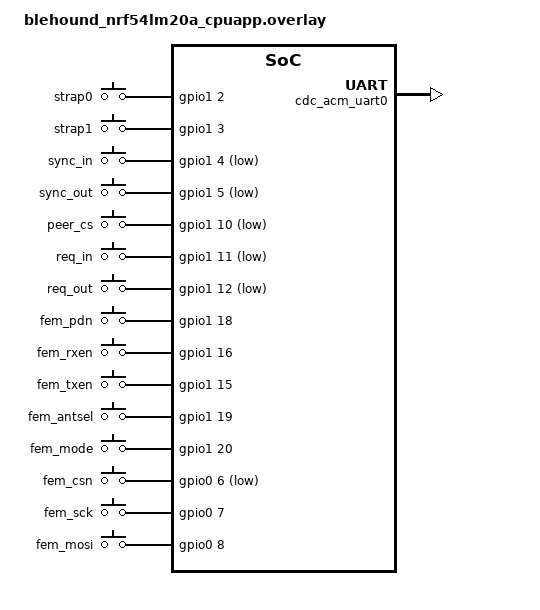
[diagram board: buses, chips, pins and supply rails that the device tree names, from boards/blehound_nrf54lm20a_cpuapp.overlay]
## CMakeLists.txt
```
# SPDX-License-Identifier: Apache-2.0
#
# BLEhound Sniffer firmware top-level CMake
# Note: this is a Zephyr / nRF Connect SDK "freestanding" application.
#   - The build depends on an external NCS (provided via west); this repo does not contain the SDK itself.
#   - For local builds see tools/build.sh; for open-source reproduction see west.yml + README in the repo root.

cmake_minimum_required(VERSION 3.20.0)

find_package(Zephyr REQUIRED HINTS $ENV{ZEPHYR_BASE})
project(nrf_ble_sniffer LANGUAGES C)

target_sources(app PRIVATE
    src/main.c
    src/cobs.c
    src/host_iface.c
    src/ble_csa.c
    src/ble_ctrl_pdu.c
    src/conn_follower.c
    src/board_role.c
    src/peer_msg.c
    src/peer_txq.c
    src/sync_line.c
    src/peer_link.c
    src/tri_coord.c
    src/fem_ctrl.c
    src/ble_aes128.c
)

# The Radio HAL implementation is selected per chip -- this is the whole point of the HAL abstraction:
# the upper layers (CSA / connection following / host protocol) stay completely unchanged, and switching
# chips only swaps this one file. To add a new chip, just add another branch here.
if(CONFIG_SOC_SERIES_NRF54L)
    target_sources(app PRIVATE src/radio_nrf54l.c)
else()
    target_sources(app PRIVATE src/radio_nrf52.c)   # nRF52 series (default)
endif()

target_include_directories(app PRIVATE
    src
    ${CMAKE_CURRENT_BINARY_DIR}/blehound_generated
)

# Firmware version: V<MAJOR>.<MINOR>.<PATCH>.<BUILD>, BUILD = git commit count of this repo,
# incremented with every commit. The generator runs on every build so a rebuild after a commit
# picks it up; outside a git repo (e.g. an exported source archive) it falls back to 0.
set(BLEHOUND_VERSION_BASE "V1.0.0")
add_custom_target(blehound_version
    BYPRODUCTS ${CMAKE_CURRENT_BINARY_DIR}/blehound_generated/blehound_version.h
    COMMAND ${CMAKE_COMMAND}
        -DBASE=${BLEHOUND_VERSION_BASE}
        -DSRC_DIR=${CMAKE_CURRENT_SOURCE_DIR}
        -DOUT=${CMAKE_CURRENT_BINARY_DIR}/blehound_generated/blehound_version.h
        -P ${CMAKE_CURRENT_SOURCE_DIR}/cmake/gen_version.cmake
    COMMENT "Generating firmware version (V1.0.0.<git commit count>)"
    VERBATIM
)
add_dependencies(app blehound_version)

# nRF54L USB uses the new UDC/usbd stack, reusing Zephyr's official USB init helper
# (sample_usbd_init.c). common.cmake only adds that source file when CONFIG_USB_DEVICE_STACK_NEXT
# is set, so it is a no-op for nRF52 (legacy stack) builds.
include(${ZEPHYR_BASE}/samples/subsys/usb/common/common.cmake)
```

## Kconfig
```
# Application-level Kconfig.
#
# Pulls in the SAMPLE_USBD_* options required by Zephyr's official USB init
# helper (sample_usbd_init.c); they `depends on USB_DEVICE_STACK_NEXT`, which
# prj.conf enables for the nRF54L UDC stack.
source "$(ZEPHYR_BASE)/samples/subsys/usb/common/Kconfig.sample_usbd"

# ---- Three-node coordination strategy (design §3.4: who follows after catching CONNECT_IND) ----
choice
	prompt "Three-node follow strategy"
	default TRI_STRATEGY_SELF
	help
	  Each of the three boards guards one advertising channel; how the follow
	  work is divided after catching CONNECT_IND.

config TRI_STRATEGY_SELF
	bool "A Self-follow + inter-board handoff (the board that caught it follows and pushes the parameters to the other two over the inter-board SPI, recommended)"
	help
	  The board that caught the anchor follows directly, zero coordination
	  latency, and hands the connection parameters to the other two boards over
	  the inter-board link so all three follow (arrives within 1 ms, no host
	  needed); the host USB relay becomes the fallback.

config TRI_STRATEGY_HANDOFF
	bool "B Handoff (the catching board hands the connection to its downstream neighbor)"
	help
	  The catching board passes the connection parameters over the inter-chip
	  SPI to a less busy neighbor to follow, for load balancing.
	  Takeover following (inject) is board bring-up work.

config TRI_STRATEGY_DEDUP
	bool "C Redundancy (multiple boards follow together, host dedups)"
	help
	  After catching, broadcast the handoff so multiple boards follow the same
	  connection to improve weak-signal capture rate; the host dedups by (AA,CRC,PDU).

endchoice

config SNIFFER_DEFAULT_TARGET_MAC
	string "Default target MAC at boot (empty = no filtering)"
	default ""
	help
	  In the form aa:bb:cc:dd:ee:ff (display order, most significant byte first).
	  Lets you follow just this one target even without a host
	  (single-target mode + advertising filter, same as filling in the target MAC
	  in Wireshark). Overridden by HOST_CMD_SET_TARGET once a host connects.
	  Mainly for host-less single-board testing / standalone operation.

source "Kconfig.zephyr"
```

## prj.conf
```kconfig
# BLEhound Sniffer — application config (board-level settings live in boards/blehound_v*/)
# Goal: validate the full "build -> flash -> run" chain + three basics: LED, RTT logging, USB CDC ACM.
# Later stages (radio / connection following) will add config on top of this.

# --- Logging: over SEGGER RTT (via J-Link, the main dev/debug channel) ---
CONFIG_LOG=y
# 2026-09-20 switched to deferred: in immediate mode sniffer_thread writes every log
# line to RTT synchronously, so the moment J-Link attaches it slows the thread down and
# capture_q overflows, dropping frames (357 queue drops observed on real hardware).
# deferred lets a dedicated log thread dequeue, so the ISR/worker threads only copy the
# message and are no longer affected by RTT read speed.
CONFIG_LOG_MODE_DEFERRED=y
CONFIG_LOG_BUFFER_SIZE=8192
CONFIG_USE_SEGGER_RTT=y
CONFIG_LOG_BACKEND_RTT=y
CONFIG_LOG_BACKEND_UART=n
CONFIG_CONSOLE=y
CONFIG_RTT_CONSOLE=y
CONFIG_UART_CONSOLE=n

# --- GPIO: on-board LED heartbeat ---
CONFIG_GPIO=y

# --- USB CDC ACM: host (Wireshark extcap) data channel ---
# nRF54LM20 USB is a DesignWare (usbhs) controller and **the legacy usb_device_stack has no driver for
# it**; only the new UDC / usb_device_stack_next stack has the udc_dwc2 + nRF54L usbhs glue. So the old
# stack is disabled, the new one enabled, and Zephyr's official sample_usbd helper initializes the device.
CONFIG_USB_DEVICE_STACK=n
CONFIG_USB_DEVICE_STACK_NEXT=y
CONFIG_USBD_CDC_ACM_CLASS=y
# Thread stacks: the new stack's defaults overflow on this chip's enumeration path (pinned down one by
# one from the Current thread in the fault dump):
#  - the usbd message-processing thread defaults to 1KB -- handling descriptors + class callbacks during
#    host enumeration/CDC configuration blows it (Current thread: usbd, STKOF). **This is the key fix.**
#  - the udc_dwc2 driver's internal thread defaults to 512B, which is a bit small.
#  - host_iface_init creates the device/descriptors on the main thread, so leave headroom there too.
CONFIG_USBD_THREAD_STACK_SIZE=2048
CONFIG_UDC_DWC2_STACK_SIZE=2048
CONFIG_MAIN_STACK_SIZE=2048
# Device identity used by sample_usbd_init.c (Zephyr's official USB init helper).
CONFIG_SAMPLE_USBD_MANUFACTURER="BLEhound"
CONFIG_SAMPLE_USBD_PRODUCT="BLEhound Sniffer"
CONFIG_SAMPLE_USBD_VID=0x1915
CONFIG_SAMPLE_USBD_PID=0x520F
# Serial layer: CDC ACM shows up as a UART device.
CONFIG_SERIAL=y
CONFIG_UART_INTERRUPT_DRIVEN=y
CONFIG_UART_LINE_CTRL=y

# --- Inter-chip link: the downstream master port (peer_link) uses the Zephyr SPI master API (design 4.2, P3) ---
CONFIG_SPI=y

# --- Radio: the sniffer takes over RADIO/TIMER/PPI directly, without enabling the Zephyr BLE controller ---
# Requires an external 32MHz crystal (the internal RC is not accurate enough); use clock_control to request HFXO.
CONFIG_CLOCK_CONTROL=y

# --- Runtime diagnostics ---
CONFIG_THREAD_NAME=y
CONFIG_PRINTK=y

# The RTT up buffer defaults to only 1KB, which fills up as soon as capture logs start (when full it
# drops new data, not overwrites old); enlarge it to 4KB to reduce the "I can't see any logs" confusion.
CONFIG_SEGGER_RTT_BUFFER_SIZE_UP=4096
```

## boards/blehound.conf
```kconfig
# Differential config for the real board blehound (3x nRF54LM20A QFN52 + nRF21540) on top of the blehound board target.
# Goes with boards/blehound.overlay (real-board ball map). Usage (at the west workspace top level):
#   west build -b blehound/nrf54lm20a/cpuapp -d BLEhound/build_dongle -s BLEhound/firmware -- \
#     -DBOARD_ROOT=. -DEXTRA_CONF_FILE=boards/blehound.conf \
#     -DEXTRA_DTC_OVERLAY_FILE=boards/blehound.overlay
#
# The real board **has no 32.768 kHz crystal** (XL1/XL2 = P1.00/P1.01 are used as inter-chip SPI GPIOs), so LFCLK must use the internal RC.
# Keeping the board-definition default K32SRC_XTAL (inherited from the DK) would make it wait forever for the LFXO to start at boot: GRTC won't run, the kernel tick stops, and not a single log line appears.
# The ±500ppm accuracy only affects kernel timing; radio scheduling uses the HF TIMER (32 MHz crystal) and is unaffected.
CONFIG_CLOCK_CONTROL_NRF_K32SRC_RC=y
CONFIG_CLOCK_CONTROL_NRF_K32SRC_500PPM=y

# GPIOTE handler pool: SYNC (gpio0/gpiote30) + inter-chip REQ (gpio1/gpiote20) belong to two different gpiote instances,
# each needing one event handler. The default of 1 may not be enough, so enlarge it to ensure both interrupt sources can register.
CONFIG_NRFX_GPIOTE_NUM_OF_EVT_HANDLERS=4
```

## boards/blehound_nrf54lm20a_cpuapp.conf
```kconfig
# USB config for the nRF54LM20A DK.
#
# The nRF54LM20 USB is a DesignWare (usbhs) controller, and **the legacy
# usb_device_stack has no driver for it**; only the new UDC / usb_device_stack_next
# stack has the udc_dwc2 + nRF54L usbhs glue.
# So here we explicitly disable the old stack, enable the new one, and use Zephyr's
# official sample_usbd helper to initialize the device.
CONFIG_USB_DEVICE_STACK=n
CONFIG_USB_DEVICE_STACK_NEXT=y
CONFIG_USBD_CDC_ACM_CLASS=y

# Thread stacks: the new stack's defaults overflow on this chip's enumeration path
# (pinned down one by one from the Current thread in the fault dump):
#  - the usbd message-processing thread defaults to 1KB -- handling descriptors + class
#    callbacks during host enumeration/CDC configuration blows it (Current thread: usbd,
#    STKOF). **This is the key fix.**
#  - the udc_dwc2 driver's internal thread defaults to 512B, which is a bit small.
#  - host_iface_init creates the device/descriptors on the main thread, so leave some headroom on the main stack too.
CONFIG_USBD_THREAD_STACK_SIZE=2048
CONFIG_UDC_DWC2_STACK_SIZE=2048
CONFIG_MAIN_STACK_SIZE=2048

# Device identity used by sample_usbd_init.c (Zephyr's official USB init helper), same as nRF52.
CONFIG_SAMPLE_USBD_MANUFACTURER="BLEhound"
CONFIG_SAMPLE_USBD_PRODUCT="BLEhound Sniffer"
CONFIG_SAMPLE_USBD_VID=0x1915
CONFIG_SAMPLE_USBD_PID=0x520F

# The inter-chip link (peer_link) downstream master port uses the Zephyr SPI master API (design §4.2, P3).
# The overlay's tri-peer-spi points to a SPIM; on a single board / without that alias, peer_link uses a disabled stub and does not need this.
CONFIG_SPI=y
```

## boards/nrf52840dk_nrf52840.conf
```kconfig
# nRF52840 DK: USB uses the legacy usb_device_stack (nRF USBD controller).
CONFIG_USB_DEVICE_STACK=y
CONFIG_USB_DEVICE_PRODUCT="BLEhound Sniffer"
CONFIG_USB_DEVICE_MANUFACTURER="BLEhound"
CONFIG_USB_DEVICE_VID=0x1915
CONFIG_USB_DEVICE_PID=0x520F
```

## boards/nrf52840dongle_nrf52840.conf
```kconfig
# nRF52840 Dongle: same as the DK, USB uses the legacy usb_device_stack.
CONFIG_USB_DEVICE_STACK=y
CONFIG_USB_DEVICE_PRODUCT="BLEhound Sniffer"
CONFIG_USB_DEVICE_MANUFACTURER="BLEhound"
CONFIG_USB_DEVICE_VID=0x1915
CONFIG_USB_DEVICE_PID=0x520F
```

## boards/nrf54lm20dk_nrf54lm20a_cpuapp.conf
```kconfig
# USB config for the nRF54LM20A DK.
#
# The nRF54LM20 USB is a DesignWare (usbhs) controller, and **the legacy
# usb_device_stack has no driver for it**; only the new UDC / usb_device_stack_next
# stack has the udc_dwc2 + nRF54L usbhs glue.
# So here we explicitly disable the old stack, enable the new one, and use Zephyr's
# official sample_usbd helper to initialize the device.
CONFIG_USB_DEVICE_STACK=n
CONFIG_USB_DEVICE_STACK_NEXT=y
CONFIG_USBD_CDC_ACM_CLASS=y

# Thread stacks: the new stack's defaults overflow on this chip's enumeration path
# (pinned down one by one from the Current thread in the fault dump):
#  - the usbd message-processing thread defaults to 1KB -- handling descriptors + class
#    callbacks during host enumeration/CDC configuration blows it (Current thread: usbd,
#    STKOF). **This is the key fix.**
#  - the udc_dwc2 driver's internal thread defaults to 512B, which is a bit small.
#  - host_iface_init creates the device/descriptors on the main thread, so leave some headroom on the main stack too.
CONFIG_USBD_THREAD_STACK_SIZE=2048
CONFIG_UDC_DWC2_STACK_SIZE=2048
CONFIG_MAIN_STACK_SIZE=2048

# Device identity used by sample_usbd_init.c (Zephyr's official USB init helper), same as nRF52.
CONFIG_SAMPLE_USBD_MANUFACTURER="BLEhound"
CONFIG_SAMPLE_USBD_PRODUCT="nRF BLE Sniffer"
CONFIG_SAMPLE_USBD_VID=0x1915
CONFIG_SAMPLE_USBD_PID=0x520F

# The inter-chip link (peer_link) downstream master port uses the Zephyr SPI master API (design §4.2, P3).
# The overlay's tri-peer-spi points to a SPIM; on a single board / without that alias, peer_link uses a disabled stub and does not need this.
CONFIG_SPI=y
```

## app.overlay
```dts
/*
 * Generic devicetree overlay (board-independent part).
 * Attaches a CDC ACM UART instance under the USB controller (zephyr_udc0),
 * for the firmware to use as a serial device -- this is the channel the host will
 * later use to read capture data.
 */

&zephyr_udc0 {
	cdc_acm_uart0: cdc_acm_uart0 {
		compatible = "zephyr,cdc-acm-uart";
	};
};
```

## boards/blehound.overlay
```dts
/*
 * Real-board blehound pin mapping -- overlaid on blehound_nrf54lm20a_cpuapp.overlay,
 * replacing the DK placeholder pins with the full board's actual balls. All three chips A/B/C share the same numbers (verified pin by pin against the blehound netlist).
 * Goes with blehound.conf (LFRC); for usage see that file's header. The FEM pins written in the DK overlay are already the real-board balls, so they are left untouched here.
 *
 * Finalized 2026-09-19: strap and SYNC all land on the 4 trace pins of the debug header (TD0..TD3), and **the first-batch board (flywire) and the revised board
 * (schematic and direct PCB connection) use the same pin table**:
 *   pin10 = TD3 = P0.04  SYNC input (gpiote30 edge capture)
 *   pin8  = TD2 = P0.03  SYNC output (open-drain drive-low, no GPIOTE attached)
 *   pin6  = TD1 = P1.09  strap1
 *   pin4  = TD0 = P1.08  strap0
 * First-batch board: pin8<->pin10 jumper + three-chip pin10 bus + strap tied to pin3 (GND); revised board: the same connections are made by PCB routing.
 */

#include <zephyr/dt-bindings/gpio/gpio.h>
#include <zephyr/dt-bindings/pinctrl/nrf-pinctrl.h>

/*
 * strap (finalized 2026-09-19): first-batch board fly-wired to the debug header's trace pins (see hardware/v1/README.md, "Flying-wire rework").
 *   strap0 = TD0 = P1.08 (header pin4); strap1 = TD1 = P1.09 (header pin6). Both pins are right next to GND (pin3), so the jumpers are short.
 *   Input + pull-up: tie to this header's GND (pin3) reads 0, tie to 3V3 (pin1) reads 1 (floating also reads 1 via the internal pull-up, but both the first-batch flywire and the revised board PCB
 *   explicitly tie to 3V3, not relying on floating). code=(strap1<<1)|strap0, matching the board_role.c table. Three-chip wiring:
 *     J3/U1 (A, code 00 -> guard 37): pin4->GND and pin6->GND
 *     J6/U2 (B, code 10 -> guard 38): pin4->GND, pin6->3V3
 *     J9/U3 (C, code 01 -> guard 39): pin6->GND, pin4->3V3
 * WARNING when not fly-wired, both pins read 1 (=11 reserved combination), board_role falls back to id=0 guarding 37, so all three guard 37 (degenerates to single-chip, still captures).
 * The old hard-soldered P1.03/P1.04 wiring was inconsistent with the board_role encoding (A/C collide), is deprecated, and is no longer referenced.
 */
&strap0 {
	gpios = <&gpio1 8 GPIO_ACTIVE_HIGH>;
};
&strap1 {
	gpios = <&gpio1 9 GPIO_ACTIVE_HIGH>;
};

/* ACT LED: P1.05 -> R -> green LED -> GND, lit on high. The DK's led0 is on P1.22, which the QFN52 does not break out. */
&led0 {
	gpios = <&gpio1 5 GPIO_ACTIVE_HIGH>;
};

/*
 * SYNC (finalized 2026-09-19: two-pin scheme, the two pins are adjacent for easy jumpering):
 *   input  sync_in  = P0.04 = TD3 = header pin10 (gpio0/gpiote30, edge-interrupt capture for a shared time base)
 *   output sync_out = P0.03 = TD2 = header pin8  (open-drain drive-low, released normally; this pin **must not** have any GPIOTE attached)
 *   flywire: on each of J3/J6/J9 one short jumper pin8<->pin10 (two adjacent pins); across the three chips pin10 is interconnected into a bus (J3.10-J6.10-J9.10).
 *   No external pull-up; sync_in enables the internal pull-up (three in parallel ~4k; the ~1Hz low-frequency SYNC edges are fine with that).
 *
 * Why it can't be a single pin: the nRF54L GPIOTE differs from the nRF52 -- per the datasheet's GPIOTE chapter, as soon as a channel's IN event
 *   is configured on pin n, that pin's output value is updated only by GPIOTE and any write from the GPIO side is ignored; MODE=Disabled does not
 *   truly disconnect it either. Observed on real hardware 2026-09-19: a pin that had had an IN interrupt attached (tried both P0.04 and P1.08) stayed
 *   permanently high on its pad after push-pull drive-low, while an identical pin that had never had an interrupt attached pulled low normally. So the
 *   capture pin and the drive pin must be separate, joined into one line by an external jumper.
 */
&sync_in {
	gpios = <&gpio0 4 (GPIO_PULL_UP | GPIO_ACTIVE_LOW)>;
};
&sync_out {
	gpios = <&gpio0 3 GPIO_ACTIVE_LOW>;
};

/*
 * Inter-chip link (per chip: downstream master port SPIM + upstream slave port SPIS + two REQ lines):
 *   downstream master port spi00: SCK=P2.02 MOSI=P2.03 MISO=P2.04, CS=P2.05 (GPIO, attached to spi_config at runtime by peer_link).
 *   REQ_IN (the downstream slave calling me) = P1.29; REQ_OUT (me calling the upstream master) = P1.02.
 *   The upstream slave port SPIS (P1.30/P1.31/P1.00/P1.01) is board bring-up work; peer_link does not load SPIS yet, so it is not claimed here.
 * The DK's spi00 SCK is on P2.01 -- on the real board that is the SYNC line, and not changing it would hold SYNC permanently low, so pinctrl must remap it.
 */
&peer_cs {
	gpios = <&gpio2 5 GPIO_ACTIVE_LOW>;
};
&req_in {
	gpios = <&gpio1 29 (GPIO_PULL_UP | GPIO_ACTIVE_LOW)>;
};
&req_out {
	gpios = <&gpio1 2 GPIO_ACTIVE_LOW>;
};

&spi00_default {
	group1 {
		psels = <NRF_PSEL(SPIM_SCK, 2, 2)>,
			<NRF_PSEL(SPIM_MOSI, 2, 3)>,
			<NRF_PSEL(SPIM_MISO, 2, 4)>;
	};
};
&spi00_sleep {
	group1 {
		psels = <NRF_PSEL(SPIM_SCK, 2, 2)>,
			<NRF_PSEL(SPIM_MOSI, 2, 3)>,
			<NRF_PSEL(SPIM_MISO, 2, 4)>;
		low-power-enable;
	};
};
```

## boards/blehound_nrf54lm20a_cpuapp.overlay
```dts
/*
 * Firmware pin definitions for the in-house full board blehound (3x nRF54LM20A) -- overlaid on the blehound board target
 * (firmware/boards/blehound/, a copy of the nRF54LM20 DK board definition).
 *
 * NOTE: this overlay uses the DK's GPIO numbers as **placeholders** so the same firmware also
 *   compiles/links and runs on an nRF54LM20 DK. The real-board ball map (finalized) lives in boards/blehound.overlay,
 *   which is layered on top of this file and overrides these pins with the actual board balls.
 */

#include <zephyr/dt-bindings/gpio/gpio.h>

/*
 * CDC ACM data channel. WARNING note: when a board-level overlay exists, Zephyr **no longer auto-applies app.overlay**,
 * so the CDC ACM node from app.overlay must be redefined here, otherwise host_iface.c's
 * DEVICE_DT_GET_ONE(zephyr_cdc_acm_uart) fails at compile time (no okay CDC node found).
 */
&zephyr_udc0 {
	cdc_acm_uart0: cdc_acm_uart0 {
		compatible = "zephyr,cdc-acm-uart";
	};
};

/ {
	/*
	 * strap: 2 GPIOs encoding board_id and the advertising channel guarded (design §4.5).
	 * On the full board each chip has one set hard-soldered (to GND / pull-up); for how it is read see firmware/src/board_role.c.
	 * WARNING board bring-up: placeholders use the DK's gpio1 2/3 (Arduino header pins).
	 */
	tri_straps {
		compatible = "gpio-keys";
		strap0: strap_0 {
			gpios = <&gpio1 2 GPIO_ACTIVE_HIGH>;
			zephyr,code = <1>;
		};
		strap1: strap_1 {
			gpios = <&gpio1 3 GPIO_ACTIVE_HIGH>;
			zephyr,code = <2>;
		};
	};

	/*
	 * SYNC sync line (design §5.2): on the full board it is **one** open-drain line shared by all three chips + a 4.7k pull-up.
	 * The DK has no such net, so use two GPIOs as placeholders (merged into one line on the board; for DK regression, jumper the two pins together).
	 * WARNING board bring-up: placeholders use the DK's gpio1 4 (in) / gpio1 5 (out).
	 */
	tri_sync {
		compatible = "gpio-keys";
		sync_in: sync_in {
			gpios = <&gpio1 4 (GPIO_PULL_UP | GPIO_ACTIVE_LOW)>;
			zephyr,code = <3>;
		};
		sync_out: sync_out {
			gpios = <&gpio1 5 GPIO_ACTIVE_LOW>;
			zephyr,code = <4>;
		};
	};

	/*
	 * The inter-chip link's CS and two REQ lines (design §4.2). The inter-chip SPI bus itself uses the tri-peer-spi alias
	 * pointing to a SPIM (placeholder to spi00 on the DK so it compiles/links; a dedicated SPIM instance on the full board).
	 * WARNING board bring-up: CS/REQ placeholders use the DK's gpio1 10/11/12.
	 */
	tri_peer {
		compatible = "gpio-keys";
		peer_cs: peer_cs {
			gpios = <&gpio1 10 GPIO_ACTIVE_LOW>;
			zephyr,code = <5>;
		};
		req_in: req_in {
			gpios = <&gpio1 11 (GPIO_PULL_UP | GPIO_ACTIVE_LOW)>;
			zephyr,code = <6>;
		};
		req_out: req_out {
			gpios = <&gpio1 12 GPIO_ACTIVE_LOW>;
			zephyr,code = <7>;
		};
	};

	/*
	 * nRF21540 FEM control port (one per chip, pure GPIO, no SPI; for the rules see src/fem_ctrl.h).
	 * This group is the full board's **actual balls** (all three chips A/B/C share the same numbers, verified against the blehound netlist), not placeholders:
	 *   PDN=P1.18 RX_EN=P1.16 TX_EN=P1.15 ANT_SEL=P1.19 MODE=P1.20 CSN=P0.06 SCK=P0.07 MOSI=P0.08
	 *   MISO=P0.09 **deliberately omitted** -- on some early samples this pin is tied to VDD inside the package, so the firmware never touches it.
	 *   WARNING the above are the 0908 first-batch board balls. The revised board (V2) has moved the FEM SPI to the P1 port (CSN=P1.19 SCK=P1.24 MOSI=P1.21
	 *   MISO=P1.20, MODE/ANTSEL moved to P0.08/P0.06), overridden by boards/blehound_v2.overlay.
	 * DK regression: the DK has no FEM, so these pins are empty header/VCOM lines and driving them is harmless. On the DK, P0.07 is the uart30 RX
	 * direction (driven by the IMCU on the other side), so fem_ctrl only configures SCK/MOSI as input pull-down and does not drive them; P1.16 is the DK's
	 * uart20 TX, and uart20 is disabled at the end of this file to free it.
	 */
	tri_fem {
		compatible = "gpio-keys";
		fem_pdn: fem_pdn {
			gpios = <&gpio1 18 GPIO_ACTIVE_HIGH>;
			zephyr,code = <8>;
		};
		fem_rxen: fem_rxen {
			gpios = <&gpio1 16 GPIO_ACTIVE_HIGH>;
			zephyr,code = <9>;
		};
		fem_txen: fem_txen {
			gpios = <&gpio1 15 GPIO_ACTIVE_HIGH>;
			zephyr,code = <10>;
		};
		fem_antsel: fem_antsel {
			gpios = <&gpio1 19 GPIO_ACTIVE_HIGH>;
			zephyr,code = <11>;
		};
		fem_mode: fem_mode {
			gpios = <&gpio1 20 GPIO_ACTIVE_HIGH>;
			zephyr,code = <12>;
		};
		/* Chip select is active low: fem_ctrl configures OUTPUT_INACTIVE = physical high = never selected. */
		fem_csn: fem_csn {
			gpios = <&gpio0 6 GPIO_ACTIVE_LOW>;
			zephyr,code = <13>;
		};
		fem_sck: fem_sck {
			gpios = <&gpio0 7 GPIO_ACTIVE_HIGH>;
			zephyr,code = <14>;
		};
		fem_mosi: fem_mosi {
			gpios = <&gpio0 8 GPIO_ACTIVE_HIGH>;
			zephyr,code = <15>;
		};
	};

	aliases {
		tri-strap0 = &strap0;
		tri-strap1 = &strap1;
		tri-sync-in = &sync_in;
		tri-sync-out = &sync_out;
		tri-peer-cs = &peer_cs;
		tri-req-in = &req_in;
		tri-req-out = &req_out;
		/* Inter-chip SPI master-port bus. WARNING board bring-up: the DK placeholder uses spi00 (its flash sub-device is already disabled),
		 * on the full board this is re-pointed to a dedicated SPIM instance. */
		tri-peer-spi = &spi00;
		fem-pdn = &fem_pdn;
		fem-rxen = &fem_rxen;
		fem-txen = &fem_txen;
		fem-antsel = &fem_antsel;
		fem-mode = &fem_mode;
		fem-csn = &fem_csn;
		fem-sck = &fem_sck;
		fem-mosi = &fem_mosi;
	};
};

/*
 * uart20 (P1.16/P1.17) is the DK's VCOM console. This firmware's console uses RTT (prj.conf CONFIG_UART_CONSOLE=n),
 * so disable it to free P1.16 for the FEM's RX_EN, otherwise the uart driver's pinctrl and the GPIO config override each other.
 */
&uart20 {
	status = "disabled";
};
```

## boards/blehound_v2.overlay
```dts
/*
 * Overlay layer for the revised board (V2) on top of the first-batch board overlay -- it only changes the inter-chip SPIM00 pins.
 * Usage: pass it to west **together with** blehound.overlay (that one first, this file after to override):
 *   -DEXTRA_DTC_OVERLAY_FILE="boards/blehound.overlay;boards/blehound_v2.overlay"
 *   or tools/build.sh V2=1.
 *
 * The datasheet fixes SPIM00's pins as P2.01=SCK (the only clock pin on P2), P2.02=SDO, P2.04=SDI, P2.05=CSN;
 * the 0908/first-batch board putting SCK on P2.02 and MOSI on P2.03 does not comply. The revised board PCB is wired to the dedicated pins.
 *
 * WARNING the first-batch flywire board **cannot** use this overlay layer: its P2.01 is the old SYNC net shared by all three chips (with the R19 pull-up), so three chips driving SCK at once would fight each other.
 *
 * FEM (nRF21540) control pins follow revised plan B (2026-09-20): the four SPI pins move to the P1 port (datasheet same-port rule + NCS requiring the PERI-domain
 * spi2x with cs on P1): CSN=P1.19, SCK=P1.24, MOSI=P1.21, MISO=P1.20 (the firmware's pure-GPIO mode never touches MISO);
 * MODE/ANTSEL move to P0.08/P0.06; P0.07 is freed. TXEN/RXEN/PDN unchanged.
 * The remaining pins (strap/SYNC/REQ/CS, etc.) are identical on both boards and reuse the first-batch board overlay.
 */

#include <zephyr/dt-bindings/pinctrl/nrf-pinctrl.h>

&spi00_default {
	group1 {
		psels = <NRF_PSEL(SPIM_SCK, 2, 1)>,
			<NRF_PSEL(SPIM_MOSI, 2, 2)>,
			<NRF_PSEL(SPIM_MISO, 2, 4)>;
	};
};
&spi00_sleep {
	group1 {
		psels = <NRF_PSEL(SPIM_SCK, 2, 1)>,
			<NRF_PSEL(SPIM_MOSI, 2, 2)>,
			<NRF_PSEL(SPIM_MISO, 2, 4)>;
		low-power-enable;
	};
};

/* FEM control pins (plan B). In the DK overlay fem_sck/fem_mosi are "parked" input pull-down pins, and on the revised board they are likewise only parked. */
&fem_csn {
	gpios = <&gpio1 19 GPIO_ACTIVE_LOW>;
};
&fem_sck {
	gpios = <&gpio1 24 GPIO_ACTIVE_HIGH>;
};
&fem_mosi {
	gpios = <&gpio1 21 GPIO_ACTIVE_HIGH>;
};
&fem_antsel {
	gpios = <&gpio0 6 GPIO_ACTIVE_HIGH>;
};
&fem_mode {
	gpios = <&gpio0 8 GPIO_ACTIVE_HIGH>;
};
```

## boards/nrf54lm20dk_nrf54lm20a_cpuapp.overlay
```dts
/*
 * Firmware pin definitions for the in-house full board blehound (3x nRF54LM20A) -- overlaid on the DK target.
 *
 * NOTE: this overlay targets the nRF54LM20 DK and uses DK GPIOs as **placeholders** so the firmware
 *   compiles/links on the DK. The real-board ball map (finalized) lives in boards/blehound.overlay,
 *   which is layered on top of this file and overrides these pins with the actual board balls.
 */

#include <zephyr/dt-bindings/gpio/gpio.h>

/*
 * CDC ACM data channel. WARNING note: when a board-level overlay exists, Zephyr **no longer auto-applies app.overlay**,
 * so the CDC ACM node from app.overlay must be redefined here, otherwise host_iface.c's
 * DEVICE_DT_GET_ONE(zephyr_cdc_acm_uart) fails at compile time (no okay CDC node found).
 */
&zephyr_udc0 {
	cdc_acm_uart0: cdc_acm_uart0 {
		compatible = "zephyr,cdc-acm-uart";
	};
};

/ {
	/*
	 * strap: 2 GPIOs encoding board_id and the advertising channel guarded (design §4.5).
	 * On the full board each chip has one set hard-soldered (to GND / pull-up); for how it is read see firmware/src/board_role.c.
	 * WARNING board bring-up: placeholders use the DK's gpio1 2/3 (Arduino header pins).
	 */
	tri_straps {
		compatible = "gpio-keys";
		strap0: strap_0 {
			gpios = <&gpio1 2 GPIO_ACTIVE_HIGH>;
			zephyr,code = <1>;
		};
		strap1: strap_1 {
			gpios = <&gpio1 3 GPIO_ACTIVE_HIGH>;
			zephyr,code = <2>;
		};
	};

	/*
	 * SYNC sync line (design §5.2): on the full board it is **one** open-drain line shared by all three chips + a 4.7k pull-up.
	 * The DK has no such net, so use two GPIOs as placeholders (merged into one line on the board; for DK regression, jumper the two pins together).
	 * WARNING board bring-up: placeholders use the DK's gpio1 4 (in) / gpio1 5 (out).
	 */
	tri_sync {
		compatible = "gpio-keys";
		sync_in: sync_in {
			gpios = <&gpio1 4 (GPIO_PULL_UP | GPIO_ACTIVE_LOW)>;
			zephyr,code = <3>;
		};
		sync_out: sync_out {
			gpios = <&gpio1 5 GPIO_ACTIVE_LOW>;
			zephyr,code = <4>;
		};
	};

	/*
	 * The inter-chip link's CS and two REQ lines (design §4.2). The inter-chip SPI bus itself uses the tri-peer-spi alias
	 * pointing to a SPIM (placeholder to spi00 on the DK so it compiles/links; a dedicated SPIM instance on the full board).
	 * WARNING board bring-up: CS/REQ placeholders use the DK's gpio1 10/11/12.
	 */
	tri_peer {
		compatible = "gpio-keys";
		peer_cs: peer_cs {
			gpios = <&gpio1 10 GPIO_ACTIVE_LOW>;
			zephyr,code = <5>;
		};
		req_in: req_in {
			gpios = <&gpio1 11 (GPIO_PULL_UP | GPIO_ACTIVE_LOW)>;
			zephyr,code = <6>;
		};
		req_out: req_out {
			gpios = <&gpio1 12 GPIO_ACTIVE_LOW>;
			zephyr,code = <7>;
		};
	};

	/*
	 * nRF21540 FEM control port (one per chip, pure GPIO, no SPI; for the rules see src/fem_ctrl.h).
	 * This group is the full board's **actual balls** (all three chips A/B/C share the same numbers, verified against the blehound netlist), not placeholders:
	 *   PDN=P1.18 RX_EN=P1.16 TX_EN=P1.15 ANT_SEL=P1.19 MODE=P1.20 CSN=P0.06 SCK=P0.07 MOSI=P0.08
	 *   MISO=P0.09 **deliberately omitted** -- on some early samples this pin is tied to VDD inside the package, so the firmware never touches it.
	 *   WARNING the above are the 0908 first-batch board balls. The revised board (V2) has moved the FEM SPI to the P1 port (CSN=P1.19 SCK=P1.24 MOSI=P1.21
	 *   MISO=P1.20, MODE/ANTSEL moved to P0.08/P0.06), overridden by boards/blehound_v2.overlay.
	 * DK regression: the DK has no FEM, so these pins are empty header/VCOM lines and driving them is harmless. On the DK, P0.07 is the uart30 RX
	 * direction (driven by the IMCU on the other side), so fem_ctrl only configures SCK/MOSI as input pull-down and does not drive them; P1.16 is the DK's
	 * uart20 TX, and uart20 is disabled at the end of this file to free it.
	 */
	tri_fem {
		compatible = "gpio-keys";
		fem_pdn: fem_pdn {
			gpios = <&gpio1 18 GPIO_ACTIVE_HIGH>;
			zephyr,code = <8>;
		};
		fem_rxen: fem_rxen {
			gpios = <&gpio1 16 GPIO_ACTIVE_HIGH>;
			zephyr,code = <9>;
		};
		fem_txen: fem_txen {
			gpios = <&gpio1 15 GPIO_ACTIVE_HIGH>;
			zephyr,code = <10>;
		};
		fem_antsel: fem_antsel {
			gpios = <&gpio1 19 GPIO_ACTIVE_HIGH>;
			zephyr,code = <11>;
		};
		fem_mode: fem_mode {
			gpios = <&gpio1 20 GPIO_ACTIVE_HIGH>;
			zephyr,code = <12>;
		};
		/* Chip select is active low: fem_ctrl configures OUTPUT_INACTIVE = physical high = never selected. */
		fem_csn: fem_csn {
			gpios = <&gpio0 6 GPIO_ACTIVE_LOW>;
			zephyr,code = <13>;
		};
		fem_sck: fem_sck {
			gpios = <&gpio0 7 GPIO_ACTIVE_HIGH>;
			zephyr,code = <14>;
		};
		fem_mosi: fem_mosi {
			gpios = <&gpio0 8 GPIO_ACTIVE_HIGH>;
			zephyr,code = <15>;
		};
	};

	aliases {
		tri-strap0 = &strap0;
		tri-strap1 = &strap1;
		tri-sync-in = &sync_in;
		tri-sync-out = &sync_out;
		tri-peer-cs = &peer_cs;
		tri-req-in = &req_in;
		tri-req-out = &req_out;
		/* Inter-chip SPI master-port bus. WARNING board bring-up: the DK placeholder uses spi00 (its flash sub-device is already disabled),
		 * on the full board this is re-pointed to a dedicated SPIM instance. */
		tri-peer-spi = &spi00;
		fem-pdn = &fem_pdn;
		fem-rxen = &fem_rxen;
		fem-txen = &fem_txen;
		fem-antsel = &fem_antsel;
		fem-mode = &fem_mode;
		fem-csn = &fem_csn;
		fem-sck = &fem_sck;
		fem-mosi = &fem_mosi;
	};
};

/*
 * uart20 (P1.16/P1.17) is the DK's VCOM console. This firmware's console uses RTT (prj.conf CONFIG_UART_CONSOLE=n),
 * so disable it to free P1.16 for the FEM's RX_EN, otherwise the uart driver's pinctrl and the GPIO config override each other.
 */
&uart20 {
	status = "disabled";
};
```

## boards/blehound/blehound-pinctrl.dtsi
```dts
/*
 * BLEhound board definition (3x nRF54LM20A + nRF21540), derived from the Zephyr
 * nRF54LM20 DK board (boards/nordic/nrf54lm20dk, Copyright (c) 2025 Nordic Semiconductor ASA).
 *
 * SPDX-License-Identifier: Apache-2.0
 */

&pinctrl {
	/omit-if-no-ref/ uart20_default: uart20_default {
		group1 {
			psels = <NRF_PSEL(UART_TX, 1, 16)>,
				<NRF_PSEL(UART_RTS, 1, 18)>;
		};

		group2 {
			psels = <NRF_PSEL(UART_RX, 1, 17)>,
				<NRF_PSEL(UART_CTS, 1, 19)>;
			bias-pull-up;
		};
	};

	/omit-if-no-ref/ uart20_sleep: uart20_sleep {
		group1 {
			psels = <NRF_PSEL(UART_RX, 1, 17)>,
				<NRF_PSEL(UART_RTS, 1, 18)>,
				<NRF_PSEL(UART_CTS, 1, 19)>;
			low-power-enable;
		};

		group2 {
			psels = <NRF_PSEL(UART_TX, 1, 16)>;
			low-power-enable;
			bias-pull-up;
		};
	};

	/omit-if-no-ref/ pwm20_default: pwm20_default {
		group1 {
			psels = <NRF_PSEL(PWM_OUT0, 1, 25)>;
		};
	};

	/omit-if-no-ref/ pwm20_sleep: pwm20_sleep {
		group1 {
			psels = <NRF_PSEL(PWM_OUT0, 1, 25)>;
			low-power-enable;
		};
	};

	/omit-if-no-ref/ uart30_default: uart30_default {
		group1 {
			psels = <NRF_PSEL(UART_TX, 0, 6)>,
				<NRF_PSEL(UART_RTS, 0, 8)>;
		};

		group2 {
			psels = <NRF_PSEL(UART_RX, 0, 7)>,
				<NRF_PSEL(UART_CTS, 0, 9)>;
			bias-pull-up;
		};
	};

	/omit-if-no-ref/ uart30_sleep: uart30_sleep {
		group1 {
			psels = <NRF_PSEL(UART_TX, 0, 6)>,
				<NRF_PSEL(UART_RX, 0, 7)>,
				<NRF_PSEL(UART_RTS, 0, 8)>,
				<NRF_PSEL(UART_CTS, 0, 9)>;
			low-power-enable;
		};
	};

	/omit-if-no-ref/ spi00_default: spi00_default {
		group1 {
			psels = <NRF_PSEL(SPIM_SCK, 2, 1)>,
				<NRF_PSEL(SPIM_MOSI, 2, 2)>,
				<NRF_PSEL(SPIM_MISO, 2, 4)>;
		};
	};

	/omit-if-no-ref/ spi00_sleep: spi00_sleep {
		group1 {
			psels = <NRF_PSEL(SPIM_SCK, 2, 1)>,
				<NRF_PSEL(SPIM_MOSI, 2, 2)>,
				<NRF_PSEL(SPIM_MISO, 2, 4)>;
			low-power-enable;
		};
	};

	/omit-if-no-ref/ grtc_default: grtc_default {
		group1 {
			psels = <NRF_PSEL(GRTC_CLKOUT_FAST, 1, 7)>,
				<NRF_PSEL(GRTC_CLKOUT_32K, 0, 4)>;
		};
	};

	/omit-if-no-ref/ grtc_sleep: grtc_sleep {
		group1 {
			psels = <NRF_PSEL(GRTC_CLKOUT_FAST, 1, 7)>,
				<NRF_PSEL(GRTC_CLKOUT_32K, 0, 4)>;
			low-power-enable;
		};
	};

	spi22_default: spi22_default {
		group1 {
			psels = <NRF_PSEL(SPIM_SCK, 3, 3)>,
				<NRF_PSEL(SPIM_MISO, 3, 1)>,
				<NRF_PSEL(SPIM_MOSI, 3, 0)>;
			bias-pull-down;
		};
	};

	spi22_sleep: spi22_sleep {
		group1 {
			psels = <NRF_PSEL(SPIM_SCK, 3, 3)>,
				<NRF_PSEL(SPIM_MISO, 3, 1)>,
				<NRF_PSEL(SPIM_MOSI, 3, 0)>;
			bias-pull-down;
			low-power-enable;
		};
	};

	pwm21_default: pwm21_default {
		group1 {
			psels = <NRF_PSEL(PWM_OUT0, 3, 4)>;
		};
	};

	pwm21_sleep: pwm21_sleep {
		group1 {
			psels = <NRF_PSEL(PWM_OUT0, 3, 4)>;
			low-power-enable;
		};
	};
};
```

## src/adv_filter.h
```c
/*
 * Advertising PDU target filter -- pure function, no hardware dependency, called from
 * main's packet-RX interrupt and unit-tested on the host.
 *
 * Single-target mode: once a target MAC is set, of the PDUs received on the advertising
 * AA only those "related to the target" are forwarded to the host --
 *   - Sent by the target itself: ADV_IND / ADV_DIRECT_IND / ADV_NONCONN_IND / ADV_SCAN_IND / SCAN_RSP
 *     (AdvA at payload offset 0);
 *   - Sent to the target by others: SCAN_REQ / CONNECT_IND (ScanA/InitA first, AdvA at offset 6) --
 *     kept so you can see who is scanning it and who is connecting to it;
 *   - Extended advertising (ADV_EXT_IND / AUX_* share type 0x07, AUX_CONNECT_RSP 0x08): counts only
 *     when the extended header carries AdvA and it matches. The primary-channel ADV_EXT_IND often
 *     carries no AdvA; this version treats it as "unrelated".
 * CRC-bad packets are matched against AdvA by the same rules: kept if they match, which gives the
 * "include packets with CRC errors" option meaning.
 *
 * Reference: BT Core Spec Vol 6, Part B, §2.3 (advertising PDU format), §2.3.4 (extended header).
 */

#ifndef ADV_FILTER_H_
#define ADV_FILTER_H_

#include <stdbool.h>
#include <stdint.h>
#include <string.h>

#define ADV_FILTER_PDU_ADV_IND         0x00
#define ADV_FILTER_PDU_ADV_DIRECT_IND  0x01
#define ADV_FILTER_PDU_ADV_NONCONN_IND 0x02
#define ADV_FILTER_PDU_SCAN_REQ        0x03
#define ADV_FILTER_PDU_SCAN_RSP        0x04
#define ADV_FILTER_PDU_CONNECT_IND     0x05
#define ADV_FILTER_PDU_ADV_SCAN_IND    0x06
#define ADV_FILTER_PDU_ADV_EXT_IND     0x07
#define ADV_FILTER_PDU_AUX_CONNECT_RSP 0x08

#define ADV_FILTER_EXT_FLAG_ADVA       0x01

/**
 * Extract the AdvA ("who this packet is about") from an LL PDU (including the 2-byte header) received on the advertising AA.
 * @param pdu     Complete LL PDU: header(1) + length(1) + payload
 * @param pdu_len Total PDU length
 * @return pointer to the 6-byte AdvA inside the PDU (over-the-air little-endian); NULL if the type is unknown, carries no AdvA, or is too short
 */
static inline const uint8_t *adv_pdu_adva(const uint8_t *pdu, uint16_t pdu_len)
{
	if (pdu == NULL || pdu_len < 2) {
		return NULL;
	}

	const uint8_t type = pdu[0] & 0x0F;

	switch (type) {
	case ADV_FILTER_PDU_ADV_IND:
	case ADV_FILTER_PDU_ADV_DIRECT_IND:
	case ADV_FILTER_PDU_ADV_NONCONN_IND:
	case ADV_FILTER_PDU_SCAN_RSP:
	case ADV_FILTER_PDU_ADV_SCAN_IND:
		return (pdu_len >= 2 + 6) ? &pdu[2] : NULL;
	case ADV_FILTER_PDU_SCAN_REQ:
	case ADV_FILTER_PDU_CONNECT_IND:
		return (pdu_len >= 2 + 12) ? &pdu[2 + 6] : NULL;
	case ADV_FILTER_PDU_ADV_EXT_IND:
	case ADV_FILTER_PDU_AUX_CONNECT_RSP:
		/* pdu[2] = ExtHdrLen (low 6 bits) | AdvMode (high 2 bits); pdu[3] = extended header Flags;
		 * AdvA is the first optional field after Flags (bit0). */
		if (pdu_len >= 2 + 1 + 1 + 6) {
			const uint8_t ext_len = pdu[2] & 0x3F;
			const uint8_t flags = pdu[3];

			if (ext_len >= 1 + 6 && (flags & ADV_FILTER_EXT_FLAG_ADVA) != 0) {
				return &pdu[4];
			}
		}
		return NULL;
	default:
		return NULL;
	}
}

/**
 * Whether an LL PDU (including the 2-byte header) received on the advertising AA is related to the target AdvA.
 * @param target  6-byte BLE address, little-endian (matching the over-the-air order)
 */
static inline bool adv_pdu_matches_target(const uint8_t *pdu, uint16_t pdu_len,
					  const uint8_t target[6])
{
	const uint8_t *adva = adv_pdu_adva(pdu, pdu_len);

	return adva != NULL && memcmp(adva, target, 6) == 0;
}

/**
 * Parse "AA:BB:CC:DD:EE:FF" (also accepts '-' separators, any case) into a 6-byte
 * **over-the-air little-endian** address (display order is most-significant-first, the
 * over-the-air order is reversed, matching HOST_CMD_SET_TARGET / adv_pdu_matches_target).
 * @return true if the format is valid
 */
static inline bool adv_filter_parse_mac(const char *text, uint8_t out[6])
{
	if (text == NULL) {
		return false;
	}
	uint8_t disp[6];
	int n = 0;

	while (*text != '\0' && n < 6) {
		uint8_t v = 0;

		for (int k = 0; k < 2; k++) {
			const char c = *text++;
			uint8_t d;

			if (c >= '0' && c <= '9') {
				d = (uint8_t)(c - '0');
			} else if (c >= 'a' && c <= 'f') {
				d = (uint8_t)(c - 'a' + 10);
			} else if (c >= 'A' && c <= 'F') {
				d = (uint8_t)(c - 'A' + 10);
			} else {
				return false;
			}
			v = (uint8_t)((v << 4) | d);
		}
		disp[n++] = v;
		if (*text == ':' || *text == '-') {
			text++;
		}
	}
	if (n != 6 || *text != '\0') {
		return false;
	}
	for (int i = 0; i < 6; i++) {
		out[i] = disp[5 - i];
	}
	return true;
}

#endif /* ADV_FILTER_H_ */
```

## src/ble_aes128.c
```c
/* SPDX-License-Identifier: Apache-2.0 */
/*
 * AES-128 single-block encryption, a direct transcription of the four FIPS-197 steps
 * (SubBytes/ShiftRows/MixColumns/AddRoundKey). Round keys are derived on the fly instead of
 * expanding the whole key schedule -- small code, small stack, suited to firmware.
 */
#include "ble_aes128.h"

#include <string.h>

static const uint8_t sbox[256] = {
	0x63, 0x7c, 0x77, 0x7b, 0xf2, 0x6b, 0x6f, 0xc5, 0x30, 0x01, 0x67, 0x2b, 0xfe, 0xd7, 0xab, 0x76,
	0xca, 0x82, 0xc9, 0x7d, 0xfa, 0x59, 0x47, 0xf0, 0xad, 0xd4, 0xa2, 0xaf, 0x9c, 0xa4, 0x72, 0xc0,
	0xb7, 0xfd, 0x93, 0x26, 0x36, 0x3f, 0xf7, 0xcc, 0x34, 0xa5, 0xe5, 0xf1, 0x71, 0xd8, 0x31, 0x15,
	0x04, 0xc7, 0x23, 0xc3, 0x18, 0x96, 0x05, 0x9a, 0x07, 0x12, 0x80, 0xe2, 0xeb, 0x27, 0xb2, 0x75,
	0x09, 0x83, 0x2c, 0x1a, 0x1b, 0x6e, 0x5a, 0xa0, 0x52, 0x3b, 0xd6, 0xb3, 0x29, 0xe3, 0x2f, 0x84,
	0x53, 0xd1, 0x00, 0xed, 0x20, 0xfc, 0xb1, 0x5b, 0x6a, 0xcb, 0xbe, 0x39, 0x4a, 0x4c, 0x58, 0xcf,
	0xd0, 0xef, 0xaa, 0xfb, 0x43, 0x4d, 0x33, 0x85, 0x45, 0xf9, 0x02, 0x7f, 0x50, 0x3c, 0x9f, 0xa8,
	0x51, 0xa3, 0x40, 0x8f, 0x92, 0x9d, 0x38, 0xf5, 0xbc, 0xb6, 0xda, 0x21, 0x10, 0xff, 0xf3, 0xd2,
	0xcd, 0x0c, 0x13, 0xec, 0x5f, 0x97, 0x44, 0x17, 0xc4, 0xa7, 0x7e, 0x3d, 0x64, 0x5d, 0x19, 0x73,
	0x60, 0x81, 0x4f, 0xdc, 0x22, 0x2a, 0x90, 0x88, 0x46, 0xee, 0xb8, 0x14, 0xde, 0x5e, 0x0b, 0xdb,
	0xe0, 0x32, 0x3a, 0x0a, 0x49, 0x06, 0x24, 0x5c, 0xc2, 0xd3, 0xac, 0x62, 0x91, 0x95, 0xe4, 0x79,
	0xe7, 0xc8, 0x37, 0x6d, 0x8d, 0xd5, 0x4e, 0xa9, 0x6c, 0x56, 0xf4, 0xea, 0x65, 0x7a, 0xae, 0x08,
	0xba, 0x78, 0x25, 0x2e, 0x1c, 0xa6, 0xb4, 0xc6, 0xe8, 0xdd, 0x74, 0x1f, 0x4b, 0xbd, 0x8b, 0x8a,
	0x70, 0x3e, 0xb5, 0x66, 0x48, 0x03, 0xf6, 0x0e, 0x61, 0x35, 0x57, 0xb9, 0x86, 0xc1, 0x1d, 0x9e,
	0xe1, 0xf8, 0x98, 0x11, 0x69, 0xd9, 0x8e, 0x94, 0x9b, 0x1e, 0x87, 0xe9, 0xce, 0x55, 0x28, 0xdf,
	0x8c, 0xa1, 0x89, 0x0d, 0xbf, 0xe6, 0x42, 0x68, 0x41, 0x99, 0x2d, 0x0f, 0xb0, 0x54, 0xbb, 0x16,
};

/* Multiply by 2 in GF(2^8) (mod x^8+x^4+x^3+x+1) */
static inline uint8_t xtime(uint8_t x)
{
	return (uint8_t)((x << 1) ^ ((x & 0x80) ? 0x1b : 0x00));
}

/* Next round key (updates rk in place); rcon is multiplied by 2 along the way */
static void next_round_key(uint8_t rk[16], uint8_t *rcon)
{
	const uint8_t t0 = rk[12], t1 = rk[13], t2 = rk[14], t3 = rk[15];

	rk[0] ^= (uint8_t)(sbox[t1] ^ *rcon);
	rk[1] ^= sbox[t2];
	rk[2] ^= sbox[t3];
	rk[3] ^= sbox[t0];
	for (int i = 4; i < 16; i++) {
		rk[i] ^= rk[i - 4];
	}
	*rcon = xtime(*rcon);
}

/* The state is stored column-major as in FIPS: s[row + 4*col] */
static void shift_rows(uint8_t s[16])
{
	uint8_t t;

	t = s[1];  s[1] = s[5];  s[5] = s[9];  s[9] = s[13];  s[13] = t;
	t = s[2];  s[2] = s[10]; s[10] = t;
	t = s[6];  s[6] = s[14]; s[14] = t;
	t = s[15]; s[15] = s[11]; s[11] = s[7]; s[7] = s[3]; s[3] = t;
}

static void mix_columns(uint8_t s[16])
{
	for (int c = 0; c < 16; c += 4) {
		const uint8_t a0 = s[c], a1 = s[c + 1], a2 = s[c + 2], a3 = s[c + 3];
		const uint8_t t = (uint8_t)(a0 ^ a1 ^ a2 ^ a3);

		s[c]     = (uint8_t)(a0 ^ t ^ xtime((uint8_t)(a0 ^ a1)));
		s[c + 1] = (uint8_t)(a1 ^ t ^ xtime((uint8_t)(a1 ^ a2)));
		s[c + 2] = (uint8_t)(a2 ^ t ^ xtime((uint8_t)(a2 ^ a3)));
		s[c + 3] = (uint8_t)(a3 ^ t ^ xtime((uint8_t)(a3 ^ a0)));
	}
}

void ble_aes128_encrypt(const uint8_t key[16], const uint8_t in[16], uint8_t out[16])
{
	uint8_t rk[16];
	uint8_t s[16];
	uint8_t rcon = 0x01;

	memcpy(rk, key, 16);
	for (int i = 0; i < 16; i++) {
		s[i] = (uint8_t)(in[i] ^ rk[i]);
	}
	for (int round = 1; round <= 10; round++) {
		next_round_key(rk, &rcon);
		for (int i = 0; i < 16; i++) {
			s[i] = sbox[s[i]];
		}
		shift_rows(s);
		if (round != 10) {
			mix_columns(s);
		}
		for (int i = 0; i < 16; i++) {
			s[i] ^= rk[i];
		}
	}
	memcpy(out, s, 16);
}
```

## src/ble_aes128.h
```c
/* SPDX-License-Identifier: Apache-2.0 */
/*
 * AES-128 single-block encryption (one ECB block) -- the primitive under the BLE security functions ah()/e().
 *
 * Pure software, no hardware dependency: the nRF54L has no classic ECB peripheral (only CRACEN), and we
 * only compute this once "when a new RPA shows up", so the throughput requirement is tiny and pulling in
 * the whole PSA/nrf_security stack is not worth it. The same code is unit-tested on the host
 * (test/host/test_rpa.c in the internal repo) and is byte-for-byte consistent with the libblehound implementation.
 *
 * Reference: FIPS-197. Key/plaintext/ciphertext all use the FIPS byte order (big-endian, i.e. the MSO of
 * e(k, p) in the BT spec comes first).
 */
#ifndef BLE_AES128_H_
#define BLE_AES128_H_

#include <stdint.h>

/** out = AES-128_encrypt(key, in); all three are 16 bytes in FIPS order; in/out may alias. */
void ble_aes128_encrypt(const uint8_t key[16], const uint8_t in[16], uint8_t out[16]);

#endif /* BLE_AES128_H_ */
```

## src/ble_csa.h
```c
/*
 * BLE Channel Selection Algorithm #1 / #2
 *
 * The core of connection following: the central and peripheral use the same algorithm on every
 * connection event to compute the data channel for the next hop. Only if the sniffer computes this
 * algorithm **exactly identically** to them can it hop along and capture packets.
 *
 * The algorithm itself is pure computation (no side effects, no hardware dependency), so it can be
 * unit-tested for equivalence against the official implementation on the host.
 *
 * Reference: Bluetooth Core Spec v5.2, Vol 6, Part B, §4.5.8.
 */

#ifndef BLE_CSA_H_
#define BLE_CSA_H_

#include <stdint.h>

/** Total number of data channels (0..36) */
#define BLE_DATA_CHANNELS 37

/**
 * Compute the channel identifier from the access address (used by CSA#2).
 * = AA high 16 bits XOR low 16 bits.
 */
uint16_t ble_csa_channel_id(uint32_t access_addr);

/**
 * CSA#1: compute the data channel for a given connection event.
 *
 * @param last_unmapped  the previous unmapped channel (initial value 0); this function updates it
 * @param hop            hop increment (from CONNECT_IND, 5..16)
 * @param latency        peripheral latency (number of skipped events, usually 0)
 * @param chan_map       37-bit channel map, 5 bytes little-endian (bit i = data channel i available)
 * @param chan_count     number of available channels in chan_map
 * @return the data channel to use for this event, 0..36
 */
uint8_t ble_csa1_next(uint8_t *last_unmapped, uint8_t hop, uint16_t latency,
		      const uint8_t *chan_map, uint8_t chan_count);

/**
 * CSA#2: compute the data channel for a given connection event.
 *
 * @param counter     the connection event counter for this event
 * @param chan_id     the result of ble_csa_channel_id()
 * @param chan_map    37-bit channel map, 5 bytes little-endian
 * @param chan_count  number of available channels
 * @return data channel 0..36
 */
uint8_t ble_csa2_next(uint16_t counter, uint16_t chan_id,
		      const uint8_t *chan_map, uint8_t chan_count);

/**
 * CSA#2 (ISO variant): compute the channel of the **first subevent** in a BIG / CIG event.
 *
 * The channel is the same as the one computed by ble_csa2_next(), but it additionally emits two
 * recursion states, used by ble_csa2_iso_subevent() to continue advancing through the subsequent
 * subevents within the same event.
 *
 * @param counter     BIG event counter (= bisPayloadCount / BN) or CIS event counter
 * @param chan_id     ble_csa_channel_id(the BIS/CIS's own access address)
 * @param chan_map    37-bit channel map, 5 bytes little-endian
 * @param chan_count  number of available channels
 * @param prn_lu      [out] subevent pseudo-random number recursion state
 * @param remap_idx   [out] remap index recursion state
 * @return data channel 0..36
 */
uint8_t ble_csa2_iso_event(uint16_t counter, uint16_t chan_id,
			   const uint8_t *chan_map, uint8_t chan_count,
			   uint16_t *prn_lu, uint16_t *remap_idx);

/**
 * CSA#2 (ISO variant): compute the channel of the **next subevent** within the same event.
 *
 * ble_csa2_iso_event() must have been called for this event first, then this function is called in
 * subevent order; prn_lu / remap_idx are advanced jointly by both and must not skip an index.
 *
 * @param chan_id     as above
 * @param chan_map    37-bit channel map, 5 bytes little-endian
 * @param chan_count  number of available channels
 * @param prn_lu      [in,out] recursion state
 * @param remap_idx   [in,out] recursion state
 * @return data channel 0..36
 */
uint8_t ble_csa2_iso_subevent(uint16_t chan_id, const uint8_t *chan_map,
			      uint8_t chan_count, uint16_t *prn_lu,
			      uint16_t *remap_idx);

/** Count the number of available channels in the 37-bit channel map */
uint8_t ble_csa_channel_count(const uint8_t *chan_map);

#endif /* BLE_CSA_H_ */
```

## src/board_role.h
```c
/*
 * Board role identification — all three boards run identical firmware and read 2 strap GPIOs at boot to self-identify their role.
 *
 * On each of the three custom boards one strap group is hard-wired (design §4.5: 2 GPIOs coded via tie-to-GND / pull-up),
 * deciding whether this board is A/B/C and which of the 37/38/39 advertising channels it guards. The firmware binary is identical across all three boards;
 * the role is determined purely at runtime by the straps — no separate firmware build per board.
 *
 * strap encoding (S1,S0):
 *   00 → board_id 0, guards channel 37 (node A)
 *   10 → board_id 1, guards channel 38 (node B)
 *   01 → board_id 2, guards channel 39 (node C)
 *   11 → reserved, falls back to {0, 37} and warns
 *
 * A strap tied to GND reads as 0; floating with the internal pull-up it reads as 1. On the DK (which lacks this strap group) the DT alias does not exist,
 * so board_role_read() falls back to {0, 37}, keeping the single-board firmware running as usual.
 */

#ifndef BOARD_ROLE_H_
#define BOARD_ROLE_H_

#include <stdint.h>

struct board_role {
	uint8_t board_id;        /**< This board's id 0/1/2 */
	uint8_t guard_channel;   /**< The advertising channel this board guards 37/38/39 */
};

/**
 * Read the straps to decide the role. Falls back to {0, 37} with LOG_WRN when the DT strap alias is undefined or the read fails.
 * Idempotent, may be called multiple times; internally configures the strap pins as input + pull-up.
 */
struct board_role board_role_read(void);

#endif /* BOARD_ROLE_H_ */
```
